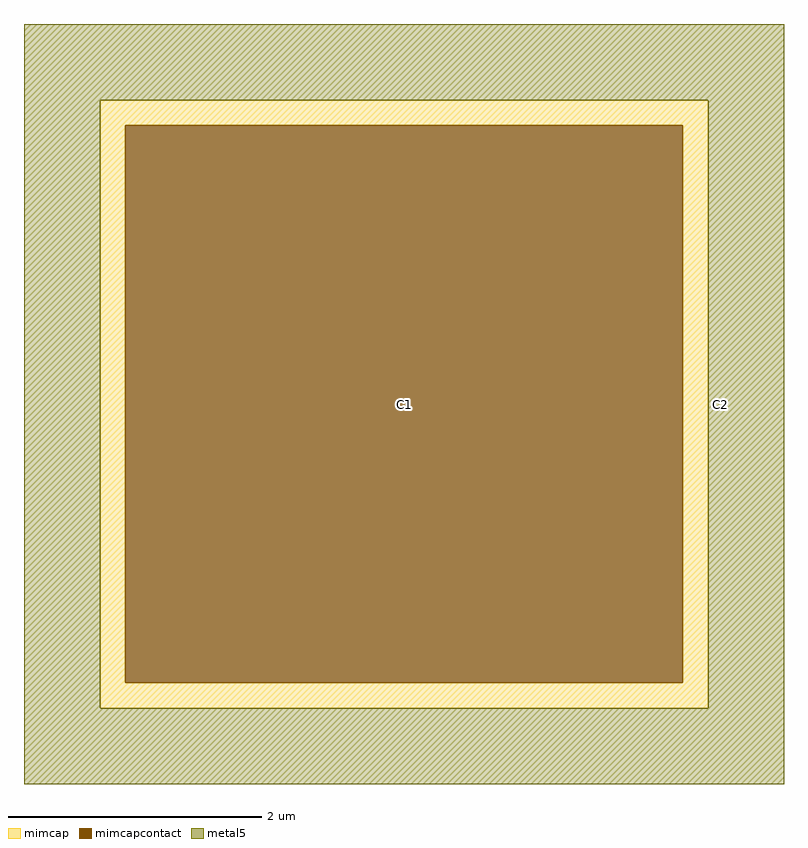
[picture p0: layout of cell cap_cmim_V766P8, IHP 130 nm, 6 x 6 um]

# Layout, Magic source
magic
tech ihp-sg13g2
<< metal5 >>
rect -300 240 300 300
rect -300 -240 -240 240
rect 240 -240 300 240
rect -300 -300 300 -240
<< mimcap >>
rect -240 220 240 240
rect -240 -220 -220 220
rect 220 -220 240 220
rect -240 -240 240 -220
<< mimcapcontact >>
rect -220 -220 220 220
<< labels >>
rlabel mimcapcontact 0 0 0 0 0 C1
port 1 nsew
rlabel metal5 250 0 250 0 0 C2
port 2 nsew
<< properties >>
string FIXED_BBOX -300 -300 300 300
string gencell cap_cmim
string library sg13g2
string parameters w 4.8 l 4.8 val 38.208 carea 1.50 cperi 0.19 class capacitor compatible {cap_cmim cap_rfcmim} nx 1 ny 1 dummy 0 square 0 lmin 2.00 wmin 2.00 lmax 30.0 wmax 30.0 dc 0 tabwidth 1.0 upcontact 0 bconnect 1 tconnect 1 ccov 100 doports 1
<< end >>
